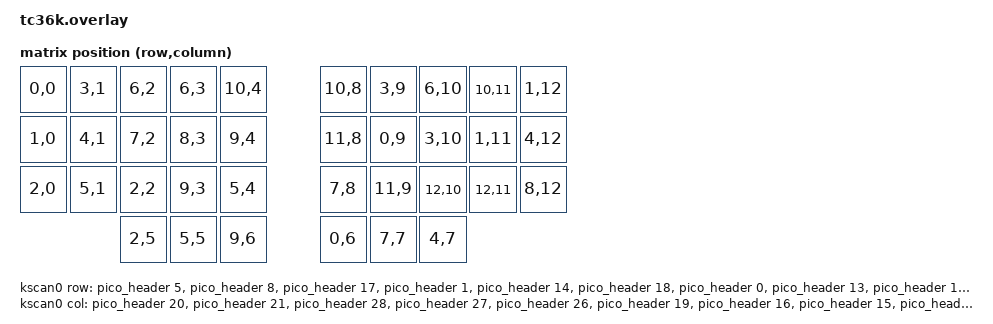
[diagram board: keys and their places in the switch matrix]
/*
 * Copyright (c) 2020 The ZMK Contributors
 *
 * SPDX-License-Identifier: MIT
 */

#include <dt-bindings/zmk/matrix_transform.h>
#include <physical_layouts.dtsi>
#include "tc36k-layouts.dtsi"

/ {

    leds {
      compatible = "gpio-leds";
      status = "okay";
      user_led: user_led {
          gpios = <&gpio0 25 GPIO_ACTIVE_HIGH>;
          label = "User LED";
      };
    };

    // this alias is used in the C code
    aliases {
      user-led = &user_led;
    };
};

/ {
    kscan0: kscan0 {
        compatible = "zmk,kscan-gpio-matrix";
        diode-direction = "col2row";
        wakeup-source;

        col-gpios
            = <&pico_header 20 GPIO_OPEN_SOURCE>
            , <&pico_header 21 GPIO_OPEN_SOURCE>
            , <&pico_header 28 GPIO_OPEN_SOURCE>
            , <&pico_header 27 GPIO_OPEN_SOURCE>
            , <&pico_header 26 GPIO_OPEN_SOURCE>
            , <&pico_header 19 GPIO_OPEN_SOURCE>
            , <&pico_header 16 GPIO_OPEN_SOURCE>
            , <&pico_header 15 GPIO_OPEN_SOURCE>
            , <&pico_header 7 GPIO_OPEN_SOURCE>
            , <&pico_header 4 GPIO_OPEN_SOURCE>
            , <&pico_header 3 GPIO_OPEN_SOURCE>
            , <&pico_header 10 GPIO_OPEN_SOURCE>
            , <&pico_header 11 GPIO_OPEN_SOURCE>
            ;

        row-gpios
            = <&pico_header 5 (GPIO_ACTIVE_HIGH | GPIO_PULL_DOWN)>
            , <&pico_header 8 (GPIO_ACTIVE_HIGH | GPIO_PULL_DOWN)>
            , <&pico_header 17 (GPIO_ACTIVE_HIGH | GPIO_PULL_DOWN)>
            , <&pico_header 1 (GPIO_ACTIVE_HIGH | GPIO_PULL_DOWN)>
            , <&pico_header 14 (GPIO_ACTIVE_HIGH | GPIO_PULL_DOWN)>
            , <&pico_header 18 (GPIO_ACTIVE_HIGH | GPIO_PULL_DOWN)>
            , <&pico_header 0 (GPIO_ACTIVE_HIGH | GPIO_PULL_DOWN)>
            , <&pico_header 13 (GPIO_ACTIVE_HIGH | GPIO_PULL_DOWN)>
            , <&pico_header 12 (GPIO_ACTIVE_HIGH | GPIO_PULL_DOWN)>
            , <&pico_header 22 (GPIO_ACTIVE_HIGH | GPIO_PULL_DOWN)>
            , <&pico_header 2 (GPIO_ACTIVE_HIGH | GPIO_PULL_DOWN)>
            , <&pico_header 6 (GPIO_ACTIVE_HIGH | GPIO_PULL_DOWN)>
            , <&pico_header 9 (GPIO_ACTIVE_HIGH | GPIO_PULL_DOWN)>
            ;
    };
};

/ {
    default_transform: keymap_transform0 {
        compatible = "zmk,matrix-transform";
        columns = <13>;
        rows = <13>;
        map = <
            RC(0,0) RC(3,1) RC(6,2) RC(6,3) RC(10,4) RC(10,8) RC(3,9)  RC(6,10)  RC(10,11) RC(1,12)
            RC(1,0) RC(4,1) RC(7,2) RC(8,3) RC(9,4)  RC(11,8) RC(0,9)  RC(3,10)  RC(1,11)  RC(4,12)
            RC(2,0) RC(5,1) RC(2,2) RC(9,3) RC(5,4)  RC(7,8)  RC(11,9) RC(12,10) RC(12,11) RC(8,12)
                            RC(2,5) RC(5,5) RC(9,6)  RC(0,6)  RC(7,7)  RC(4,7)
        >;
    };
};

/ {
    physical_layout0: physical_layout_0 { // First physical layout, use different naming for other layouts
        compatible = "zmk,physical-layout";
        display-name = "Default Layout";
        kscan = <&kscan0>; // Label of the kscan node, optional if all layouts use the same
        transform = <&default_transform>; // Label of the matrix transform for this layout
    };
};

/ {
    chosen {
        zmk,physical-layout = &physical_layout0;
        // Other chosen items
    };
};

